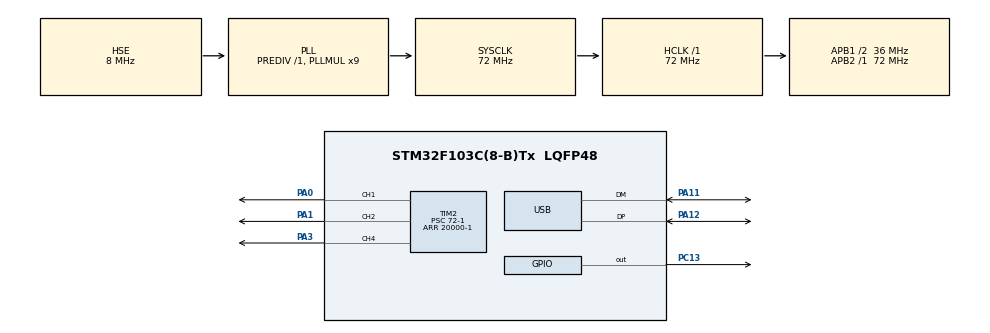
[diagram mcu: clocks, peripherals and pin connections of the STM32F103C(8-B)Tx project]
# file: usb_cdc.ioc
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Mcu.Family=STM32F1
Mcu.Name=STM32F103C(8-B)Tx
Mcu.Package=LQFP48
NVIC.PriorityGroup=NVIC_PRIORITYGROUP_4
NVIC.USB_LP_CAN1_RX0_IRQn=true\:0\:0\:false\:false\:true\:false\:true\:true
PA0-WKUP.Signal=S_TIM2_CH1_ETR
PA1.Signal=S_TIM2_CH2
PA11.Mode=Device
PA11.Signal=USB_DM
PA12.Mode=Device
PA12.Signal=USB_DP
PA13.Mode=Serial_Wire
PA13.Signal=SYS_JTMS-SWDIO
PA14.Mode=Serial_Wire
PA14.Signal=SYS_JTCK-SWCLK
PA3.Signal=S_TIM2_CH4
PC13-TAMPER-RTC.Signal=GPIO_Output
PD0-OSC_IN.Mode=HSE-External-Oscillator
PD0-OSC_IN.Signal=RCC_OSC_IN
PD1-OSC_OUT.Mode=HSE-External-Oscillator
PD1-OSC_OUT.Signal=RCC_OSC_OUT
ProjectManager.HeapSize=0x200
ProjectManager.StackSize=0x400
ProjectManager.TargetToolchain=STM32CubeIDE
RCC.AHBFreq_Value=72000000
RCC.APB1CLKDivider=RCC_HCLK_DIV2
RCC.APB1Freq_Value=36000000
RCC.APB1TimFreq_Value=72000000
RCC.APB2Freq_Value=72000000
RCC.APB2TimFreq_Value=72000000
RCC.HCLKFreq_Value=72000000
RCC.PLLMUL=RCC_PLL_MUL9
RCC.SYSCLKFreq_VALUE=72000000
RCC.SYSCLKSource=RCC_SYSCLKSOURCE_PLLCLK
RCC.USBFreq_Value=48000000
RCC.USBPrescaler=RCC_USBCLKSOURCE_PLL_DIV1_5
SH.S_TIM2_CH1_ETR.0=TIM2_CH1,PWM Generation1 CH1
SH.S_TIM2_CH2.0=TIM2_CH2,PWM Generation2 CH2
SH.S_TIM2_CH4.0=TIM2_CH4,PWM Generation4 CH4
TIM2.Channel-PWM\ Generation1\ CH1=TIM_CHANNEL_1
TIM2.Channel-PWM\ Generation2\ CH2=TIM_CHANNEL_2
TIM2.Channel-PWM\ Generation4\ CH4=TIM_CHANNEL_4
TIM2.Period=20000-1
TIM2.Prescaler=72-1
USB_DEVICE.CLASS_NAME_FS=CDC
USB_DEVICE.PRODUCT_STRING_CDC_FS=STM32 Virtual Porto
USB_DEVICE.VirtualMode=Cdc
USB_DEVICE.VirtualModeFS=Cdc_FS
VP_USB_DEVICE_VS_USB_DEVICE_CDC_FS.Mode=CDC_FS
board=custom

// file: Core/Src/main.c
/* USER CODE BEGIN Header */
/*
 *
 * -------------------READ ME---------------------------*
 * All variable declaration are made in one file (shared variable.c)
 * and it's included in different files.
 * All functions are declared in (Control function.c)
 * The main.c only contain the setup and the while loop
 *
 * ---------------------P.S-----------------------------*
 * The USB receive function remains in "usbd_cdc_if.c"
 * because it is called automatically by the USB middleware
 * whenever new data is received (no manual call needed).
 * usbd_cdc_if.c path is (usb_device/app/usbd_cdc_if.c
 */
/* USER CODE END Header */
#include "main.h"
#include "usb_device.h"

/* USER CODE BEGIN Includes */
#include "usbd_cdc_if.h"
#include "shared_variables.h"
#include "Control_Functions.h"
/* USER CODE END Includes */

TIM_HandleTypeDef htim2;

void SystemClock_Config(void);
static void MX_GPIO_Init(void);
static void MX_TIM2_Init(void);

int main(void)
{

  /* MCU Configuration--------------------------------------------------------*/

  /* Reset of all peripherals, Initializes the Flash interface and the Systick. */
  HAL_Init();

  /* Configure the system clock */
  SystemClock_Config();

  /* Initialize all configured peripherals */
  MX_GPIO_Init();
  MX_USB_DEVICE_Init();
  MX_TIM2_Init();
  /* USER CODE BEGIN 2 */

  //start timer for PWM generation
  HAL_TIM_PWM_Start(&htim2, TIM_CHANNEL_1);
  HAL_TIM_PWM_Start(&htim2, TIM_CHANNEL_2);
  HAL_TIM_PWM_Start(&htim2, TIM_CHANNEL_4);

  //inverse kinamatics initial setup
  Machine_init(d, e, f, g);
  theta0A = Machine_theta(A, platformHz, initialval, initialval);
  theta0B = Machine_theta(B, platformHz, initialval, initialval);
  theta0C = Machine_theta(C, platformHz, initialval, initialval);

  //set servos to the defualt on start
  ServoControl(servoNeutralA, servoNeutralB, servoNeutralC);

  /* USER CODE END 2 */

  /* Infinite loop */
  while (1)
  {

    /* USER CODE BEGIN 3 */

	  //if data received from camera successfully
	  if (datareceived) {
	  	  datareceived = 0;

	  	  //read data from buffer and save it into Xpos,Ypos adresses
	  	 if (sscanf((char*)buffer,"%d,%d", &Xpos, &Ypos) == 2) {

	  		 //if ball is detected "actual data is received not 0.0"
	  	     if (!(Xpos == 0 && Ypos == 0)) {

	  	    	   /*calculate the error from the camera to the origin point& angle for
	  	    	    * each servo and save it in  S1,S2,S3 addresses and move the servos*/
	  	    	   PID_compute(Xpos, Ypos);
	  	    	   moveTo(platformHz, -outVal[0], -outVal[1], &s1, &s2, &s3);
	  	           ServoControl(s1, s2, s3);
	  	           timelapsed = HAL_GetTick(); //save last active time
	  	          }
	  	      }
	  	 	 //clear the buffer for new cycle
	  	      memset((void*)buffer, 0, buffer_size);
	  	  }
	  	  /*if current time from last active cycle is more than 0.5 Sec
	  	  so "No ball currently" reset the servos*/
		  if (HAL_GetTick() - timelapsed > 500) {
	  	      ServoControl(servoNeutralA, servoNeutralB, servoNeutralC);
	 }
  }
  /* USER CODE END 3 */
}

void SystemClock_Config(void)
{
  RCC_OscInitTypeDef RCC_OscInitStruct = {0};
  RCC_ClkInitTypeDef RCC_ClkInitStruct = {0};
  RCC_PeriphCLKInitTypeDef PeriphClkInit = {0};

  /** Initializes the RCC Oscillators according to the specified parameters
  * in the RCC_OscInitTypeDef structure.
  */
  RCC_OscInitStruct.OscillatorType = RCC_OSCILLATORTYPE_HSE;
  RCC_OscInitStruct.HSEState = RCC_HSE_ON;
  RCC_OscInitStruct.HSEPredivValue = RCC_HSE_PREDIV_DIV1;
  RCC_OscInitStruct.HSIState = RCC_HSI_ON;
  RCC_OscInitStruct.PLL.PLLState = RCC_PLL_ON;
  RCC_OscInitStruct.PLL.PLLSource = RCC_PLLSOURCE_HSE;
  RCC_OscInitStruct.PLL.PLLMUL = RCC_PLL_MUL9;
  if (HAL_RCC_OscConfig(&RCC_OscInitStruct) != HAL_OK)
  {
    Error_Handler();
  }

  /** Initializes the CPU, AHB and APB buses clocks
  */
  RCC_ClkInitStruct.ClockType = RCC_CLOCKTYPE_HCLK|RCC_CLOCKTYPE_SYSCLK
                              |RCC_CLOCKTYPE_PCLK1|RCC_CLOCKTYPE_PCLK2;
  RCC_ClkInitStruct.SYSCLKSource = RCC_SYSCLKSOURCE_PLLCLK;
  RCC_ClkInitStruct.AHBCLKDivider = RCC_SYSCLK_DIV1;
  RCC_ClkInitStruct.APB1CLKDivider = RCC_HCLK_DIV2;
  RCC_ClkInitStruct.APB2CLKDivider = RCC_HCLK_DIV1;

  if (HAL_RCC_ClockConfig(&RCC_ClkInitStruct, FLASH_LATENCY_2) != HAL_OK)
  {
    Error_Handler();
  }
  PeriphClkInit.PeriphClockSelection = RCC_PERIPHCLK_USB;
  PeriphClkInit.UsbClockSelection = RCC_USBCLKSOURCE_PLL_DIV1_5;
  if (HAL_RCCEx_PeriphCLKConfig(&PeriphClkInit) != HAL_OK)
  {
    Error_Handler();
  }
}

static void MX_TIM2_Init(void)
{

  TIM_MasterConfigTypeDef sMasterConfig = {0};
  TIM_OC_InitTypeDef sConfigOC = {0};

  htim2.Instance = TIM2;
  htim2.Init.Prescaler = 72-1;
  htim2.Init.CounterMode = TIM_COUNTERMODE_UP;
  htim2.Init.Period = 20000-1;
  htim2.Init.ClockDivision = TIM_CLOCKDIVISION_DIV1;
  htim2.Init.AutoReloadPreload = TIM_AUTORELOAD_PRELOAD_DISABLE;
  if (HAL_TIM_PWM_Init(&htim2) != HAL_OK)
  {
    Error_Handler();
  }
  sMasterConfig.MasterOutputTrigger = TIM_TRGO_RESET;
  sMasterConfig.MasterSlaveMode = TIM_MASTERSLAVEMODE_DISABLE;
  if (HAL_TIMEx_MasterConfigSynchronization(&htim2, &sMasterConfig) != HAL_OK)
  {
    Error_Handler();
  }
  sConfigOC.OCMode = TIM_OCMODE_PWM1;
  sConfigOC.Pulse = 0;
  sConfigOC.OCPolarity = TIM_OCPOLARITY_HIGH;
  sConfigOC.OCFastMode = TIM_OCFAST_DISABLE;
  if (HAL_TIM_PWM_ConfigChannel(&htim2, &sConfigOC, TIM_CHANNEL_1) != HAL_OK)
  {
    Error_Handler();
  }
  if (HAL_TIM_PWM_ConfigChannel(&htim2, &sConfigOC, TIM_CHANNEL_2) != HAL_OK)
  {
    Error_Handler();
  }
  if (HAL_TIM_PWM_ConfigChannel(&htim2, &sConfigOC, TIM_CHANNEL_4) != HAL_OK)
  {
    Error_Handler();
  }
  HAL_TIM_MspPostInit(&htim2);

}

static void MX_GPIO_Init(void)
{
  GPIO_InitTypeDef GPIO_InitStruct = {0};

  /* GPIO Ports Clock Enable */
  __HAL_RCC_GPIOC_CLK_ENABLE();
  __HAL_RCC_GPIOD_CLK_ENABLE();
  __HAL_RCC_GPIOA_CLK_ENABLE();

  /*Configure GPIO pin Output Level */
  HAL_GPIO_WritePin(GPIOC, GPIO_PIN_13, GPIO_PIN_RESET);

  /*Configure GPIO pin : PC13 */
  GPIO_InitStruct.Pin = GPIO_PIN_13;
  GPIO_InitStruct.Mode = GPIO_MODE_OUTPUT_PP;
  GPIO_InitStruct.Pull = GPIO_NOPULL;
  GPIO_InitStruct.Speed = GPIO_SPEED_FREQ_LOW;
  HAL_GPIO_Init(GPIOC, &GPIO_InitStruct);

}

void Error_Handler(void)
{
  __disable_irq();
  while (1)
  {
  }
}
